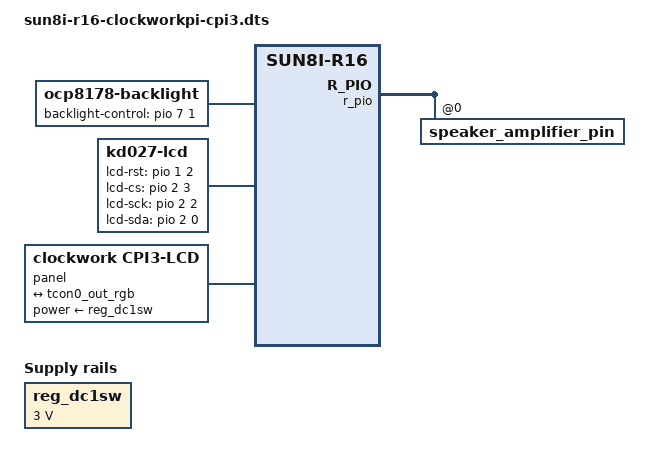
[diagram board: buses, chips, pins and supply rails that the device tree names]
/*
 * Copyright (c) 2018 Clockwork
 *
 * This file is dual-licensed: you can use it either under the terms
 * of the GPL or the X11 license, at your option. Note that this dual
 * licensing only applies to this file, and not this project as a
 * whole.
 *
 *  a) This file is free software; you can redistribute it and/or
 *     modify it under the terms of the GNU General Public License as
 *     published by the Free Software Foundation; either version 2 of the
 *     License, or (at your option) any later version.
 *
 *     This file is distributed in the hope that it will be useful,
 *     but WITHOUT ANY WARRANTY; without even the implied warranty of
 *     MERCHANTABILITY or FITNESS FOR A PARTICULAR PURPOSE.  See the
 *     GNU General Public License for more details.
 *
 * Or, alternatively,
 *
 *  b) Permission is hereby granted, free of charge, to any person
 *     obtaining a copy of this software and associated documentation
 *     files (the "Software"), to deal in the Software without
 *     restriction, including without limitation the rights to use,
 *     copy, modify, merge, publish, distribute, sublicense, and/or
 *     sell copies of the Software, and to permit persons to whom the
 *     Software is furnished to do so, subject to the following
 *     conditions:
 *
 *     The above copyright notice and this permission notice shall be
 *     included in all copies or substantial portions of the Software.
 *
 *     THE SOFTWARE IS PROVIDED "AS IS", WITHOUT WARRANTY OF ANY KIND,
 *     EXPRESS OR IMPLIED, INCLUDING BUT NOT LIMITED TO THE WARRANTIES
 *     OF MERCHANTABILITY, FITNESS FOR A PARTICULAR PURPOSE AND
 *     NONINFRINGEMENT. IN NO EVENT SHALL THE AUTHORS OR COPYRIGHT
 *     HOLDERS BE LIABLE FOR ANY CLAIM, DAMAGES OR OTHER LIABILITY,
 *     WHETHER IN AN ACTION OF CONTRACT, TORT OR OTHERWISE, ARISING
 *     FROM, OUT OF OR IN CONNECTION WITH THE SOFTWARE OR THE USE OR
 *     OTHER DEALINGS IN THE SOFTWARE.
 */

/dts-v1/;
#include "sun8i-r16-clockworkpi-cpi3.dtsi"

/ {
	backlight {
		compatible = "ocp8178-backlight";
		pinctrl-names = "default";
		pinctrl-0 = <&backlight_control_pin>;
		backlight-control-gpios = <&pio 7 1 GPIO_ACTIVE_HIGH>; /* PH1 */
		default-brightness = <5>;
	};

	lcd {
		compatible = "kd027-lcd";
		pinctrl-names = "default";
		pinctrl-0 = <&lcd_control_pin>;
		lcd-rst-gpios = <&pio 1 2 GPIO_ACTIVE_HIGH>; /* PB2 */
		lcd-cs-gpios = <&pio 2 3 GPIO_ACTIVE_HIGH>; /* PC3 */
		lcd-sck-gpios = <&pio 2 2 GPIO_ACTIVE_HIGH>; /* PC2 */
		lcd-sda-gpios = <&pio 2 0 GPIO_ACTIVE_HIGH>; /* PC0 */
		init-seq = /bits/ 8 <0x2b 0x01 0x00 0x07 0x0c 0x27 0x16 0x04>;
		suspend-seq = /bits/ 8 <0x2b 0x00>;
		resume-seq = /bits/ 8 <0x2b 0x01>;
	};

	panel {
		compatible = "clockwork,cpi3-lcd";
		power-supply = <&reg_dc1sw>;

		ports {
			#address-cells = <1>;
			#size-cells = <0>;
			port@0 {
				#address-cells = <1>;
				#size-cells = <0>;
				reg = <0>;

				rgb_input: endpoint@0 {
					reg = <0>;
					remote-endpoint = <&tcon0_out_rgb>;
				};
			};
		};
	};
};

&codec_analog {
	interrupt-parent = <&gic>;
	pinctrl-names = "default";
	pinctrl-0 = <&speaker_amplifier_pin>;
	speaker-amplifier-gpios = <&r_pio 0 3 GPIO_ACTIVE_HIGH>; /* PL3 */
	interrupts = <GIC_SPI 46 IRQ_TYPE_LEVEL_HIGH>;
};

&pio {
	vcc-pb-supply = <&reg_aldo1>;
	vcc-pc-supply = <&reg_aldo1>;
	vcc-pf-supply = <&reg_aldo1>;
	vcc-pg-supply = <&reg_aldo1>;
	vcc-ph-supply = <&reg_aldo1>;

	lcd_control_pin: lcd_control_pin@0 {
		pins = "PB2", "PC0", "PC2", "PC3";
		function = "gpio_out";
	};

	backlight_control_pin: backlight_control_pin@0 {
		pins = "PH1";
		function = "gpio_out";
	};
};

&r_pio {
	vcc-pl-supply = <&reg_rtc_ldo>;

	speaker_amplifier_pin: speaker_amplifier_pin@0 {
		pins = "PL3";
		function = "gpio_out";
	};
};

&reg_dc1sw {
	regulator-min-microvolt = <3000000>;
	regulator-max-microvolt = <3000000>;
	regulator-name = "vcc-lcd";
};
